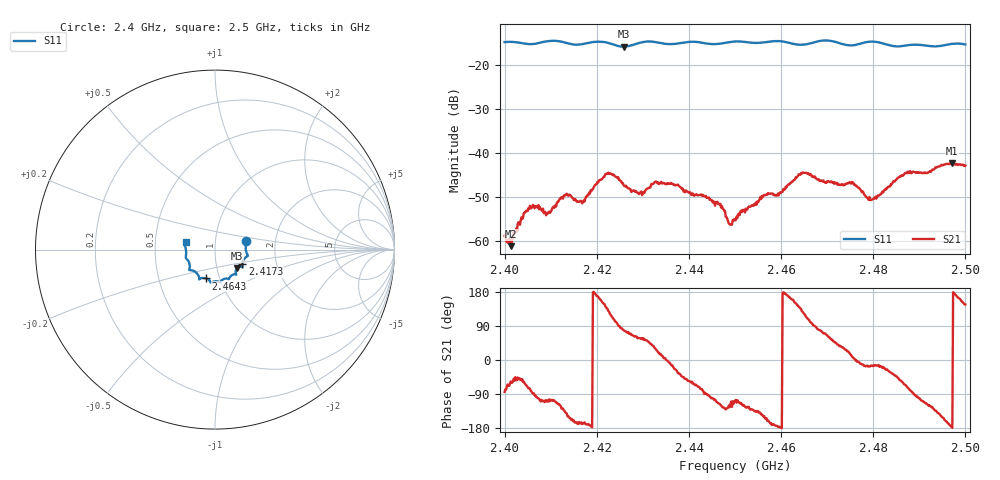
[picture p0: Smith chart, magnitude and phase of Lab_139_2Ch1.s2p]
# Hz S RI R 50
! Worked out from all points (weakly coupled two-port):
!   601 points, 2.4 GHz to 2.5 GHz, reference 50 ohm
!   highest |S21| = -42.38 dB at 2.4972 GHz (marker M1); lowest = -61.3 dB at 2.4013 GHz (marker M2)
!   lowest |S11| = -15.9 dB at 2.4258 GHz (marker M3), VSWR 1.38, Z = 62.3 - j13.2 ohm
!   |S11| at or under -10 dB: start of sweep to end of sweep
!   S12 and S22 are empty: the file has one direction only
!   S11 on the Smith chart (normalised r, x): 2.4 GHz: 1.41, +0.14; 2.4173 GHz: 1.34, -0.23; 2.4643 GHz: 0.86, -0.28; 2.5 GHz: 0.72, +0.06
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2.4e9  0.1734 0.0489  0.000116 -0.00113  0 0  0 0
2.401333e9  0.1758 0.0436  0.000477 -0.000721  0 0  0 0
2.405667e9  0.1708 0.0057  0.000342 -0.00231  0 0  0 0
2.4095e9  0.1824 -0.0319  -0.000689 -0.00193  0 0  0 0
2.413333e9  0.1714 -0.0425  -0.00257 -0.00217  0 0  0 0
2.416667e9  0.153 -0.0746  -0.00268 -0.000736  0 0  0 0
2.417333e9  0.1521 -0.082  -0.00267 -0.000747  0 0  0 0
2.422333e9  0.1499 -0.0946  -0.00405 0.00408  0 0  0 0
2.425833e9  0.1219 -0.1035  0.000848 0.00416  0 0  0 0
2.4295e9  0.1167 -0.1344  0.00191 0.00296  0 0  0 0
2.433333e9  0.1127 -0.1375  0.00429 0.00161  0 0  0 0
2.443833e9  0.0646 -0.1612  2.07e-05 -0.00306  0 0  0 0
2.448833e9  0.0321 -0.1775  -0.000872 -0.00126  0 0  0 0
2.45e9  0.0289 -0.1811  -0.000506 -0.00162  0 0  0 0
2.464333e9  -0.0499 -0.1604  -0.00412 0.00417  0 0  0 0
2.466667e9  -0.0758 -0.1591  -0.000676 0.00534  0 0  0 0
2.475333e9  -0.1097 -0.1237  0.00457 0.000812  0 0  0 0
2.479333e9  -0.1422 -0.1142  0.00276 -0.000841  0 0  0 0
2.483333e9  -0.1408 -0.0896  0.00356 -0.00195  0 0  0 0
2.487167e9  -0.1558 -0.0546  0.00215 -0.00548  0 0  0 0
2.497167e9  -0.17 0.028  -0.0076 -0.000128  0 0  0 0
2.5e9  -0.1641 0.0426  -0.00593 0.00394  0 0  0 0
